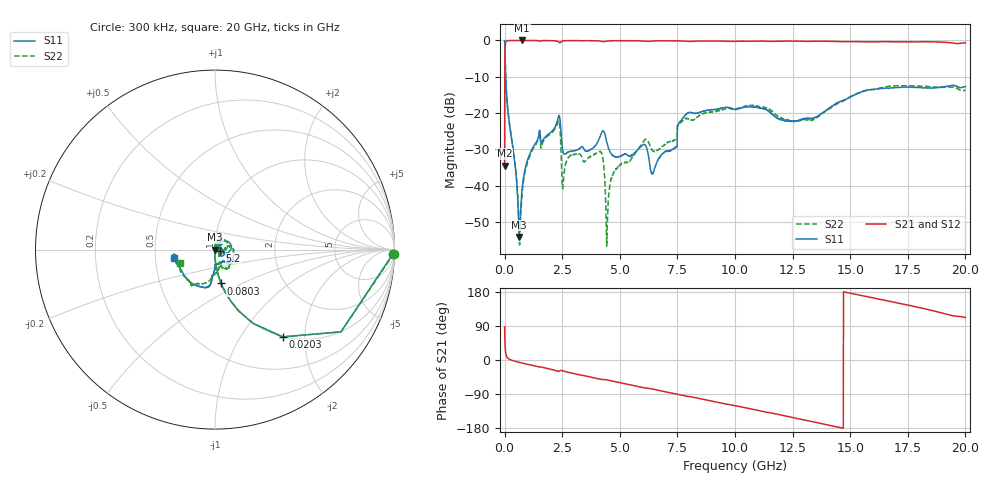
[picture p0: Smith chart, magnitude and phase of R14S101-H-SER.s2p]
!{R14S101}
!Johanson Technology Inc.
!www.johansontechnology.com
!Test Board Conditions:
!Substrate Type  RO4350B
!Substrate Thickness  20 mil
!Substrate Dk  3.66
!TL Type: GCPW
!TL Trace Width  36 mil
!TL Gap  12 mil
!Electrode orientation  Horizontal
!DUT TOPOLOGY	SERIES
!Mounting Pad LxW  26x36 mil
! Created Wed Nov 25 17:33:21 2020
! 2 Port Network Data from SP1.SP block
! freq  magS11  angS11  magS21  angS21  magS12  angS12  magS22  angS22
# khz S ma R 50
! decimated to every 10th point (10 MHz spacing) of the original 1 MHz Johanson file; values unchanged
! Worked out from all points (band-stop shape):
!   2001 points, 300 kHz to 20 GHz, reference 50 ohm
!   highest |S21| = 0.00 dB at 760.3 MHz (marker M1); lowest = -34.5 dB at 300 kHz (marker M2)
!   |S21| within 3 dB of the highest: 17.45 MHz to end of sweep
!   lowest |S11| = -54.2 dB at 630.3 MHz (marker M3), VSWR 1.00, Z = 50.2 - j0.108 ohm
!   |S11| at or under -10 dB: 47.51 MHz to end of sweep
!   |S22| runs from -56.7 to 0.0 dB; largest |S21 - S12| = 0.017
!   S11 on the Smith chart (normalised r, x): 300 kHz: 26, -81; 20.3 MHz: 0.99, -1.56; 80.3 MHz: 0.99, -0.39; 5.2 GHz: 1.05, -0.01; 20 GHz: 0.63, -0.06
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300  0.9927 -1.3  0.01886 87.7  0.01892 88.5  0.9969 -1.3
20300  0.6151 -52.2  0.7866 37.8  0.7878 37.7  0.6158 -52.2
80300  0.1914 -79.8  0.9807 10.2  0.9808 10.2  0.1926 -79.7
120300  0.1278 -83.7  0.9914 6.0  0.9908 6.1  0.1285 -83.8
630300  0.001947 -33.4  0.9983 -6.2  0.9989 -6.2  0.002275 -132.5
760300  0.008872 67.5  0.9998 -8.1  0.9977 -8.1  0.007569 96.7
1190300  0.03149 65.2  0.9979 -13.9  0.9977 -14.0  0.03022 85.2
2290300  0.07827 37.7  0.9759 -29.2  0.9766 -29.1  0.07142 54.3
2560300  0.02778 -0.5  0.9863 -29.3  0.9857 -29.3  0.01252 71.1
3340300  0.03429 0.8  0.9905 -40.2  0.9901 -40.1  0.02523 78.0
4180300  0.05075 -15.1  0.9756 -51.0  0.9762 -51.0  0.02891 38.3
4460300  0.03706 -53.0  0.9804 -52.6  0.9796 -52.7  0.003044 146.3
4680300  0.02576 -38.6  0.9893 -55.7  0.9895 -55.7  0.01378 92.9
5200300  0.02699 -12.6  0.9904 -62.5  0.9902 -62.5  0.02066 41.6
6110300  0.03631 -3.3  0.974 -73.9  0.9738 -73.9  0.04347 -24.2
6670300  0.0226 50.2  0.9889 -79.9  0.9886 -79.9  0.03114 -45.4
7390300  0.03314 48.4  0.9886 -89.1  0.9875 -89.1  0.04256 -57.3
7920300  0.09837 -40.4  0.974 -95.9  0.9736 -95.8  0.08365 12.0
1.00003e7  0.1122 -31.7  0.9731 -120.3  0.9737 -120.4  0.1138 -44.8
1.33403e7  0.0842 -88.4  0.9727 -162.4  0.9758 -162.3  0.07909 -73.6
1.66703e7  0.219 -108.8  0.9601 155.5  0.9543 155.4  0.2339 -122.0
2e7  0.2311 -169.0  0.93 112.1  0.9294 112.3  0.2085 -158.3
